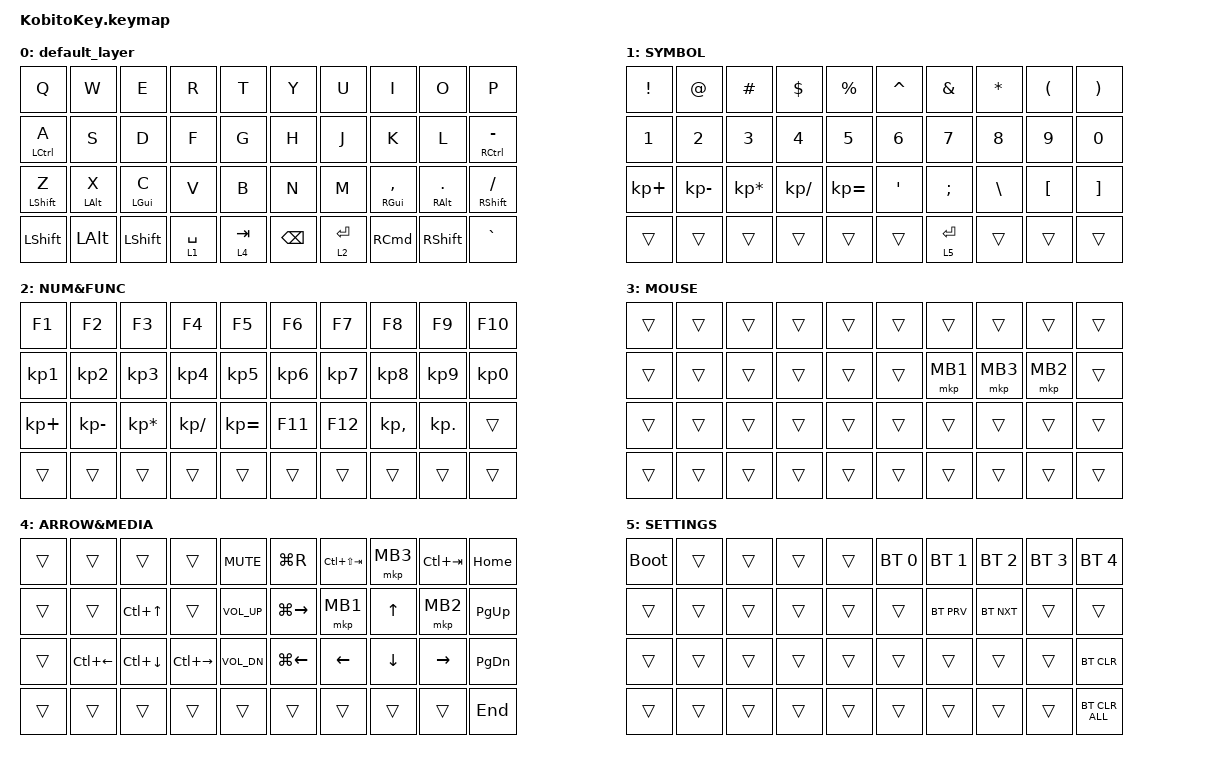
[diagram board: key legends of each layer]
#include <input/processors.dtsi>
#include <behaviors.dtsi>
#include <dt-bindings/zmk/bt.h>
#include <dt-bindings/zmk/keys.h>
#include <dt-bindings/zmk/pointing.h>

/ {
    behaviors {
        // 左手用 Mod-Tap（右手のキーを押した時だけModとして判定）
        hml: home_row_mod_left {
            compatible = "zmk,behavior-hold-tap";
            #binding-cells = <2>;
            flavor = "balanced";
            tapping-term-ms = <260>;              // 撫で打ち・浅いAP向けに少し長めに設定
            quick-tap-ms = <175>;                 // 連打時の長押し誤爆防止
            require-prior-idle-ms = <150>;        // ★最重要：流しタイピング中のMod誤爆を完全防止
            bindings = <&kp>, <&kp>;
            hold-trigger-key-positions = <
                 5  6  7  8  9
                15 16 17 18 19
                25 26 27 28 29
                35 36 37 38 39
            >;
            hold-trigger-on-release;              // 撫で打ち特有の指離れ遅れによるMod化を防止
        };

        // 右手用 Mod-Tap（左手のキーを押した時だけModとして判定）
        hmr: home_row_mod_right {
            compatible = "zmk,behavior-hold-tap";
            #binding-cells = <2>;
            flavor = "balanced";
            tapping-term-ms = <260>;
            quick-tap-ms = <175>;
            require-prior-idle-ms = <150>;        // ★最重要
            bindings = <&kp>, <&kp>;
            hold-trigger-key-positions = <
                 0  1  2  3  4
                10 11 12 13 14
                20 21 22 23 24
                30 31 32 33 34
            >;
            hold-trigger-on-release;
        };
    };
    combos {
        compatible = "zmk,combos";

        lang_en {
            timeout-ms = <50>;
            key-positions = <12 13>;
            bindings = <&kp LS(LC(SEMICOLON))>;
        };

        lang_ja {
            timeout-ms = <50>;
            key-positions = <16 17>;
            bindings = <&kp LS(LC(J))>;
        };

        combo_esc {
            timeout-ms = <50>;
            key-positions = <0 1>;
            bindings = <&kp ESC>;
        };
    };

    keymap {
        compatible = "zmk,keymap";

        default_layer {
            bindings = <
&kp Q                 &kp W              &kp E              &kp R        &kp T      &kp Y          &kp U        &kp I                 &kp O               &kp P
&hml LEFT_CONTROL A   &kp S              &kp D              &kp F        &kp G      &kp H          &kp J        &kp K                 &kp L               &hmr RIGHT_CONTROL MINUS
&hml LEFT_SHIFT Z     &hml LEFT_ALT X    &hml LEFT_GUI C    &kp V        &kp B      &kp N          &kp M        &hmr RIGHT_GUI COMMA  &hmr RIGHT_ALT DOT  &hmr RIGHT_SHIFT SLASH
&kp LEFT_SHIFT        &kp LALT           &kp LEFT_SHIFT     &lt 1 SPACE  &lt 4 TAB  &kp BACKSPACE  &lt 2 ENTER  &kp RIGHT_COMMAND     &kp RSHFT           &kp GRAVE
            >;
        };

        SYMBOL {
            label = "SYMBOL";
            bindings = <
&kp EXCLAMATION  &kp AT_SIGN   &kp HASH         &kp DOLLAR     &kp PERCENT   &kp CARET         &kp AMPERSAND  &kp ASTERISK   &kp LEFT_PARENTHESIS  &kp RIGHT_PARENTHESIS
&kp NUMBER_1     &kp NUMBER_2  &kp NUMBER_3     &kp NUMBER_4   &kp NUMBER_5  &kp NUMBER_6      &kp NUMBER_7   &kp NUMBER_8   &kp NUMBER_9          &kp NUMBER_0
&kp KP_PLUS      &kp KP_MINUS  &kp KP_MULTIPLY  &kp KP_DIVIDE  &kp KP_EQUAL  &kp SINGLE_QUOTE  &kp SEMICOLON  &kp BACKSLASH  &kp LEFT_BRACKET      &kp RIGHT_BRACKET
&trans           &trans        &trans           &trans         &trans        &trans            &lt 5 ENTER    &trans         &trans                &trans
            >;
        };

        NUM_FUNC {
            label = "NUM&FUNC";
            bindings = <
&kp F1           &kp F2           &kp F3           &kp F4           &kp F5           &kp F6           &kp F7           &kp F8           &kp F9           &kp F10
&kp KP_NUMBER_1  &kp KP_NUMBER_2  &kp KP_NUMBER_3  &kp KP_NUMBER_4  &kp KP_NUMBER_5  &kp KP_NUMBER_6  &kp KP_NUMBER_7  &kp KP_NUMBER_8  &kp KP_NUMBER_9  &kp KP_NUMBER_0
&kp KP_PLUS      &kp KP_MINUS     &kp KP_MULTIPLY  &kp KP_DIVIDE    &kp KP_EQUAL     &kp F11          &kp F12          &kp KP_COMMA     &kp KP_DOT       &trans
&trans           &trans           &trans           &trans           &trans           &trans           &trans           &trans           &trans           &trans
            >;
        };

        MOUSE {
            label = "MOUSE";
            bindings = <
&trans  &trans  &trans  &trans  &trans  &trans  &trans    &trans    &trans    &trans
&trans  &trans  &trans  &trans  &trans  &trans  &mkp MB1  &mkp MB3  &mkp MB2  &trans
&trans  &trans  &trans  &trans  &trans  &trans  &trans    &trans    &trans    &trans
&trans  &trans  &trans  &trans  &trans  &trans  &trans    &trans    &trans    &trans
            >;
        };

        ARROW_MEDIA {
            bindings = <
&trans  &trans              &trans              &trans               &kp K_MUTE    &kp LG(R)            &kp LC(LS(TAB))  &mkp MB3        &kp LC(TAB)      &kp HOME
&trans  &trans              &kp LC(UP_ARROW)    &trans               &kp C_VOL_UP  &kp LG(RIGHT_ARROW)  &mkp MB1         &kp UP_ARROW    &mkp MB2         &kp PAGE_UP
&trans  &kp LC(LEFT_ARROW)  &kp LC(DOWN_ARROW)  &kp LC(RIGHT_ARROW)  &kp C_VOL_DN  &kp LG(LEFT_ARROW)   &kp LEFT_ARROW   &kp DOWN_ARROW  &kp RIGHT_ARROW  &kp PAGE_DOWN
&trans  &trans              &trans              &trans               &trans        &trans               &trans           &trans          &trans           &kp END
            >;

            label = "ARROW&MEDIA";
        };

        SETTINGS {
            bindings = <
&bootloader  &trans  &trans  &trans  &trans  &bt BT_SEL 0  &bt BT_SEL 1  &bt BT_SEL 2  &bt BT_SEL 3  &bt BT_SEL 4
&trans       &trans  &trans  &trans  &trans  &trans        &bt BT_PRV    &bt BT_NXT    &trans        &trans
&trans       &trans  &trans  &trans  &trans  &trans        &trans        &trans        &trans        &bt BT_CLR
&trans       &trans  &trans  &trans  &trans  &trans        &trans        &trans        &trans        &bt BT_CLR_ALL
            >;

            label = "SETTINGS";
        };
    };
};
